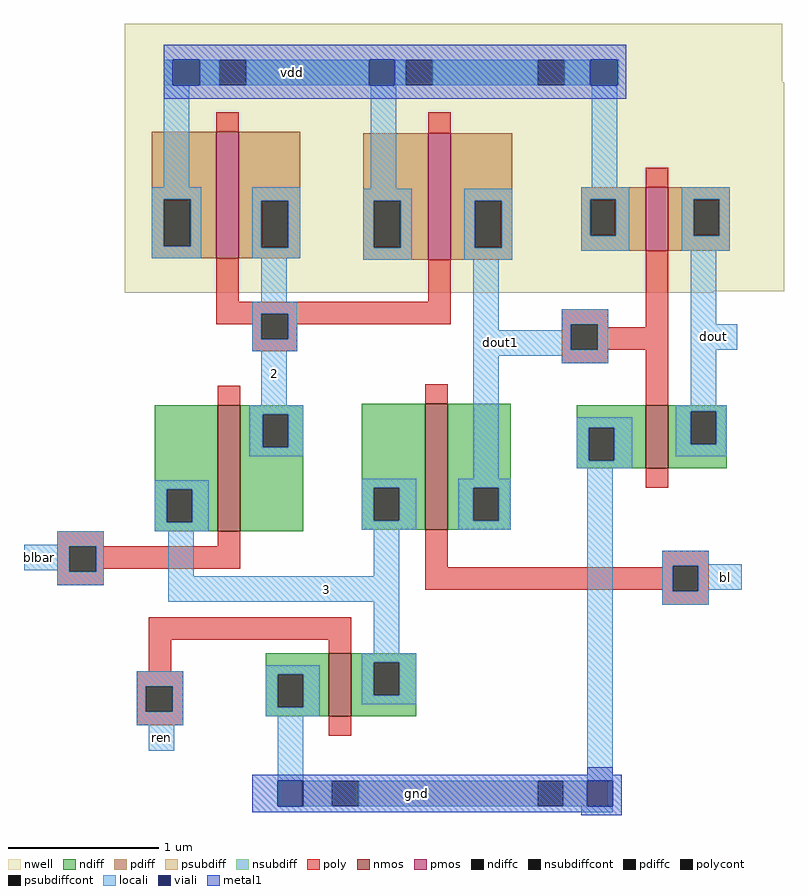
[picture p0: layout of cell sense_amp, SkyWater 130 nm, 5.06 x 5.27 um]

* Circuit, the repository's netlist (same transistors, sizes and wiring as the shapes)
* SPICE3 file created from sense_amp.ext - technology: sky130A
.SUBCKT sense_amp bl br dout en vdd gnd
X0 2 2 vdd vdd sky130_fd_pr__pfet_01v8 ad=0.3444 pd=2.5 as=0.3612 ps=2.54 w=0.84 l=0.15
X1 dout1 bl 3 gnd sky130_fd_pr__nfet_01v8 ad=0.3528 pd=2.52 as=0.3528 ps=2.52 w=0.84 l=0.15
X2 dout1 2 vdd vdd sky130_fd_pr__pfet_01v8 ad=0.3444 pd=2.5 as=0.3612 ps=2.54 w=0.84 l=0.15
X3 2 br 3 gnd sky130_fd_pr__nfet_01v8 ad=0.3528 pd=2.52 as=0.3528 ps=2.52 w=0.84 l=0.15
X4 dout dout1 vdd vdd sky130_fd_pr__pfet_01v8 ad=0.1722 pd=1.66 as=0.1806 ps=1.7 w=0.42 l=0.15
X5 3 en gnd gnd sky130_fd_pr__nfet_01v8 ad=0.1806 pd=1.7 as=0.1764 ps=1.68 w=0.42 l=0.15
X6 dout dout1 gnd gnd sky130_fd_pr__nfet_01v8 ad=0.1638 pd=1.62 as=0.1932 ps=1.76 w=0.42 l=0.15
.ENDS

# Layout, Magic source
magic
tech sky130A
<< nwell >>
rect -146 -59 292 -20
rect -146 -198 293 -59
rect -146 -199 246 -198
<< nmos >>
rect -84 -358 -69 -274
rect 54 -357 69 -273
rect 201 -316 216 -274
rect -10 -481 5 -439
<< pmos >>
rect -85 -176 -70 -92
rect 56 -177 71 -93
rect 201 -171 216 -129
<< ndiff >>
rect -126 -330 -84 -274
rect -126 -352 -118 -330
rect -101 -352 -84 -330
rect -126 -358 -84 -352
rect -69 -280 -27 -274
rect -69 -302 -54 -280
rect -37 -302 -27 -280
rect -69 -358 -27 -302
rect 12 -329 54 -273
rect 12 -351 20 -329
rect 37 -351 54 -329
rect 12 -357 54 -351
rect 69 -329 111 -273
rect 155 -289 201 -274
rect 155 -311 163 -289
rect 180 -311 201 -289
rect 155 -316 201 -311
rect 216 -278 255 -274
rect 216 -300 231 -278
rect 248 -300 255 -278
rect 216 -316 255 -300
rect 69 -351 86 -329
rect 103 -351 111 -329
rect 69 -357 111 -351
rect -52 -453 -10 -439
rect -52 -475 -44 -453
rect -27 -475 -10 -453
rect -52 -481 -10 -475
rect 5 -445 48 -439
rect 5 -467 20 -445
rect 37 -467 48 -445
rect 5 -481 48 -467
<< pdiff >>
rect -128 -137 -85 -92
rect -128 -168 -120 -137
rect -102 -168 -85 -137
rect -128 -176 -85 -168
rect -70 -138 -29 -92
rect -70 -169 -55 -138
rect -37 -169 -29 -138
rect -70 -176 -29 -169
rect 13 -138 56 -93
rect 13 -169 20 -138
rect 38 -169 56 -138
rect 13 -177 56 -169
rect 71 -138 112 -93
rect 71 -169 87 -138
rect 105 -169 112 -138
rect 71 -177 112 -169
rect 158 -137 201 -129
rect 158 -161 164 -137
rect 181 -161 201 -137
rect 158 -171 201 -161
rect 216 -137 257 -129
rect 216 -161 233 -137
rect 250 -161 257 -137
rect 216 -171 257 -161
<< ndiffc >>
rect -118 -352 -101 -330
rect -54 -302 -37 -280
rect 20 -351 37 -329
rect 163 -311 180 -289
rect 231 -300 248 -278
rect 86 -351 103 -329
rect -44 -475 -27 -453
rect 20 -467 37 -445
<< pdiffc >>
rect -120 -168 -102 -137
rect -55 -169 -37 -138
rect 20 -169 38 -138
rect 87 -169 105 -138
rect 164 -161 181 -137
rect 233 -161 250 -137
<< psubdiff >>
rect -28 -541 -8 -524
rect 10 -541 129 -524
rect 146 -541 176 -524
<< nsubdiff >>
rect -120 -61 -83 -44
rect -65 -61 41 -44
rect 59 -61 129 -44
rect 147 -61 183 -44
<< psubdiffcont >>
rect -8 -541 10 -524
rect 129 -541 146 -524
<< nsubdiffcont >>
rect -83 -61 -65 -44
rect 41 -61 59 -44
rect 129 -61 147 -44
<< poly >>
rect -85 -92 -70 -79
rect 56 -93 71 -79
rect -85 -205 -70 -176
rect 201 -129 216 -116
rect 56 -205 71 -177
rect -85 -213 71 -205
rect -85 -220 -55 -213
rect -61 -230 -55 -220
rect -37 -220 71 -213
rect 145 -220 176 -210
rect -37 -230 -31 -220
rect -61 -238 -31 -230
rect 145 -237 151 -220
rect 169 -222 176 -220
rect 201 -222 216 -171
rect 169 -237 216 -222
rect 145 -246 176 -237
rect -84 -274 -69 -261
rect 54 -273 69 -260
rect 201 -274 216 -237
rect 201 -329 216 -316
rect -191 -368 -160 -358
rect -84 -368 -69 -358
rect -191 -385 -183 -368
rect -165 -383 -69 -368
rect 54 -382 69 -357
rect 212 -381 243 -371
rect 212 -382 219 -381
rect -165 -385 -160 -383
rect -191 -394 -160 -385
rect 54 -397 219 -382
rect 212 -398 219 -397
rect 236 -398 243 -381
rect 212 -407 243 -398
rect -130 -430 5 -415
rect -130 -451 -115 -430
rect -10 -439 5 -430
rect -138 -461 -107 -451
rect -138 -478 -132 -461
rect -114 -478 -107 -461
rect -138 -487 -107 -478
rect -10 -494 5 -481
<< polycont >>
rect -55 -230 -37 -213
rect 151 -237 169 -220
rect -183 -385 -165 -368
rect 219 -398 236 -381
rect -132 -478 -114 -461
<< locali >>
rect -120 -61 -114 -44
rect -96 -61 -83 -44
rect -65 -61 17 -44
rect 34 -61 41 -44
rect 59 -61 129 -44
rect 147 -61 164 -44
rect -120 -129 -103 -61
rect -128 -137 -95 -129
rect -128 -168 -120 -137
rect -102 -168 -95 -137
rect -128 -176 -95 -168
rect -61 -138 -29 -129
rect 18 -130 35 -61
rect 165 -129 182 -61
rect -61 -169 -55 -138
rect -37 -169 -29 -138
rect -61 -176 -29 -169
rect 13 -138 45 -130
rect 13 -169 20 -138
rect 38 -169 45 -138
rect -55 -205 -38 -176
rect 13 -177 45 -169
rect 80 -138 112 -130
rect 80 -169 87 -138
rect 105 -169 112 -138
rect 80 -177 112 -169
rect 158 -137 190 -129
rect 158 -161 164 -137
rect 181 -161 190 -137
rect 158 -171 190 -161
rect 225 -137 257 -129
rect 225 -161 233 -137
rect 250 -161 257 -137
rect 225 -171 257 -161
rect -61 -213 -31 -205
rect -61 -230 -55 -213
rect -37 -230 -31 -213
rect -61 -238 -31 -230
rect 86 -224 103 -177
rect 145 -220 176 -210
rect 145 -224 151 -220
rect 86 -237 151 -224
rect 169 -237 176 -220
rect -55 -274 -38 -238
rect 86 -241 176 -237
rect -63 -280 -27 -274
rect -63 -302 -54 -280
rect -37 -302 -27 -280
rect -63 -308 -27 -302
rect 86 -323 103 -241
rect 145 -246 176 -241
rect 231 -220 248 -171
rect 231 -237 262 -220
rect 231 -274 248 -237
rect 221 -278 255 -274
rect 155 -289 192 -282
rect 155 -311 163 -289
rect 180 -311 192 -289
rect 221 -300 231 -278
rect 248 -300 255 -278
rect 221 -308 255 -300
rect 155 -316 192 -311
rect -126 -330 -90 -324
rect -126 -352 -118 -330
rect -101 -352 -90 -330
rect -126 -358 -90 -352
rect 12 -329 48 -323
rect 12 -351 20 -329
rect 37 -351 48 -329
rect 12 -357 48 -351
rect 76 -329 111 -323
rect 76 -351 86 -329
rect 103 -351 111 -329
rect 76 -357 111 -351
rect -191 -367 -160 -358
rect -213 -368 -160 -367
rect -213 -384 -183 -368
rect -191 -385 -183 -384
rect -165 -385 -160 -368
rect -191 -394 -160 -385
rect -117 -388 -100 -358
rect 20 -388 37 -357
rect -117 -405 37 -388
rect 20 -439 37 -405
rect 12 -445 48 -439
rect -138 -461 -107 -451
rect -138 -478 -132 -461
rect -114 -478 -107 -461
rect -138 -487 -107 -478
rect -52 -453 -16 -447
rect -52 -475 -44 -453
rect -27 -475 -16 -453
rect 12 -467 20 -445
rect 37 -467 48 -445
rect 12 -473 48 -467
rect -52 -481 -16 -475
rect -130 -504 -113 -487
rect -44 -524 -27 -481
rect 162 -524 179 -316
rect 212 -380 243 -371
rect 212 -381 265 -380
rect 212 -398 219 -381
rect 236 -397 265 -381
rect 236 -398 243 -397
rect 212 -407 243 -398
rect -27 -541 -8 -524
rect 10 -541 129 -524
rect 146 -541 162 -524
rect 158 -545 179 -541
<< viali >>
rect -114 -61 -96 -44
rect 17 -61 34 -44
rect 164 -61 182 -44
rect -44 -541 -27 -524
rect 162 -541 179 -524
<< metal1 >>
rect -120 -44 188 -34
rect -120 -61 -114 -44
rect -96 -61 17 -44
rect 34 -61 164 -44
rect 182 -61 188 -44
rect -120 -70 188 -61
rect 162 -520 179 -515
rect -61 -524 185 -520
rect -61 -541 -44 -524
rect -27 -541 162 -524
rect 179 -541 185 -524
rect -61 -545 185 -541
rect 158 -547 185 -545
<< labels >>
flabel metal1 -58 -60 -10 -45 0 FreeSans 152 0 0 0 vdd
flabel locali 86 -240 122 -225 0 FreeSans 120 0 0 0 dout1
flabel locali 232 -236 260 -221 0 FreeSans 104 0 0 0 dout
flabel locali 244 -396 264 -381 0 FreeSans 120 0 0 0 bl
flabel locali -212 -383 -193 -368 0 FreeSans 96 0 0 0 blbar
flabel locali -129 -503 -114 -488 0 FreeSans 96 0 0 0 ren
flabel locali -54 -262 -39 -244 0 FreeSans 96 0 0 0 2
flabel locali -24 -404 1 -389 0 FreeSans 96 0 0 0 3
flabel metal1 22 -540 75 -525 0 FreeSans 152 0 0 0 gnd
<< end >>
